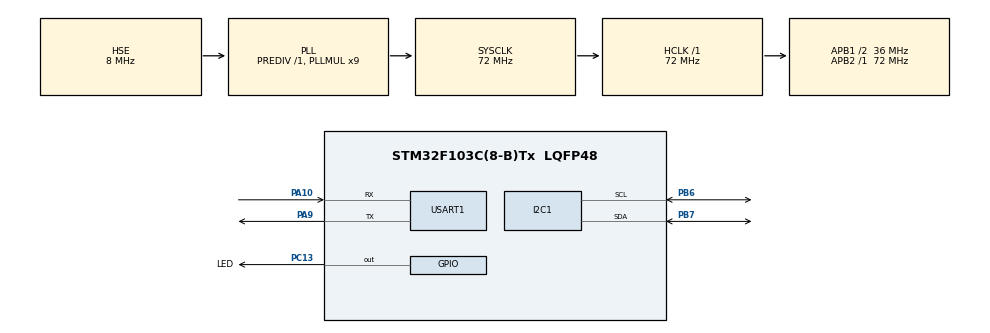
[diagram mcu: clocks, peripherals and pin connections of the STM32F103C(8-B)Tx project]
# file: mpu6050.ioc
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I2C1.I2C_Mode=I2C_Fast
Mcu.Family=STM32F1
Mcu.Name=STM32F103C(8-B)Tx
Mcu.Package=LQFP48
NVIC.I2C1_ER_IRQn=true\:0\:0\:false\:false\:true\:true\:true\:true
NVIC.I2C1_EV_IRQn=true\:0\:0\:false\:false\:true\:true\:true\:true
NVIC.PriorityGroup=NVIC_PRIORITYGROUP_4
PA10.Mode=Asynchronous
PA10.Signal=USART1_RX
PA13.Mode=Serial_Wire
PA13.Signal=SYS_JTMS-SWDIO
PA14.Mode=Serial_Wire
PA14.Signal=SYS_JTCK-SWCLK
PA9.Mode=Asynchronous
PA9.Signal=USART1_TX
PB6.Mode=I2C
PB6.Signal=I2C1_SCL
PB7.Mode=I2C
PB7.Signal=I2C1_SDA
PC13-TAMPER-RTC.GPIO_Label=LED
PC13-TAMPER-RTC.GPIO_PuPd=GPIO_PULLDOWN
PC13-TAMPER-RTC.Signal=GPIO_Output
PD0-OSC_IN.Mode=HSE-External-Oscillator
PD0-OSC_IN.Signal=RCC_OSC_IN
PD1-OSC_OUT.Mode=HSE-External-Oscillator
PD1-OSC_OUT.Signal=RCC_OSC_OUT
ProjectManager.HeapSize=0x200
ProjectManager.StackSize=0x400
ProjectManager.TargetToolchain=CMake
RCC.AHBFreq_Value=72000000
RCC.APB1CLKDivider=RCC_HCLK_DIV2
RCC.APB1Freq_Value=36000000
RCC.APB1TimFreq_Value=72000000
RCC.APB2Freq_Value=72000000
RCC.APB2TimFreq_Value=72000000
RCC.HCLKFreq_Value=72000000
RCC.PLLMUL=RCC_PLL_MUL9
RCC.PLLSourceVirtual=RCC_PLLSOURCE_HSE
RCC.SYSCLKFreq_VALUE=72000000
RCC.SYSCLKSource=RCC_SYSCLKSOURCE_PLLCLK
RCC.USBFreq_Value=48000000
RCC.USBPrescaler=RCC_USBCLKSOURCE_PLL_DIV1_5
USART1.VirtualMode=VM_ASYNC
board=custom

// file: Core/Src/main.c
/* USER CODE BEGIN Header */
/**
  ******************************************************************************
  * @file           : main.c
  * @brief          : Main program body
  ******************************************************************************
  * @attention
  *
  * Copyright (c) 2026 STMicroelectronics.
  * All rights reserved.
  *
  * This software is licensed under terms that can be found in the LICENSE file
  * in the root directory of this software component.
  * If no LICENSE file comes with this software, it is provided AS-IS.
  *
  ******************************************************************************
  */
/* USER CODE END Header */
#include "main.h"

/* USER CODE BEGIN Includes */
#include <stdio.h>
#include "mpu6050.h"
#include "kalman.h"
#include "complementary.h"
#include "mavlink_attitude.h"
/* USER CODE END Includes */

/* USER CODE BEGIN PTD */
typedef struct
{
  float comple;
  float kalman;
} UART_MPU;

/* USER CODE END PTD */

I2C_HandleTypeDef hi2c1;

UART_HandleTypeDef huart1;

/* USER CODE BEGIN PV */
MPU6050_t mpu;
UART_MPU uart;
/* USER CODE END PV */

void SystemClock_Config(void);
static void MX_GPIO_Init(void);
static void MX_I2C1_Init(void);
static void MX_USART1_UART_Init(void);

/* USER CODE BEGIN 0 */
static void format_float(char *buf, size_t size, float val)
{
  if (val < 0.0f)
  {
    val = -val;
    int32_t int_part = (int32_t)val;
    uint32_t frac_part = (uint32_t)((val - (float)int_part) * 100.0f + 0.5f);
    if (frac_part >= 100)
    {
      int_part++;
      frac_part -= 100;
    }
    snprintf(buf, size, "-%ld.%02lu", (long)int_part, (long)frac_part);
  }
  else
  {
    int32_t int_part = (int32_t)val;
    uint32_t frac_part = (uint32_t)((val - (float)int_part) * 100.0f + 0.5f);
    if (frac_part >= 100)
    {
      int_part++;
      frac_part -= 100;
    }
    snprintf(buf, size, "%ld.%02lu", (long)int_part, (long)frac_part);
  }
}
/* USER CODE END 0 */

int main(void)
{

  /* MCU Configuration--------------------------------------------------------*/

  /* Reset of all peripherals, Initializes the Flash interface and the Systick. */
  HAL_Init();

  /* Configure the system clock */
  SystemClock_Config();

  /* Initialize all configured peripherals */
  MX_GPIO_Init();
  MX_I2C1_Init();
  MX_USART1_UART_Init();
  /* USER CODE BEGIN 2 */
  /* Inisialisasi sensor MPU6050 */
  while (MPU6050_Init(&mpu, &hi2c1) != HAL_OK)
  {
    /* Sensor gagal diinisialisasi / belum terhubung: kedipkan LED cepat */
    HAL_GPIO_TogglePin(LED_GPIO_Port, LED_Pin);
    HAL_Delay(100);
  }

  /* Kalibrasi startup gyroscope (500 sampel statis ~1 detik) */
  while (MPU6050_Calibrate_Gyro(&mpu) != HAL_OK)
  {
    HAL_GPIO_WritePin(LED_GPIO_Port, LED_Pin, GPIO_PIN_RESET);
  }
  HAL_GPIO_WritePin(LED_GPIO_Port, LED_Pin, GPIO_PIN_SET);
  /* USER CODE END 2 */

  /* Infinite loop */
  /* USER CODE BEGIN WHILE */
  while (1)
  {
    /* Membaca seluruh data IMU (akselerometer, suhu, gyroscope) */
    if (MPU6050_ReadAll(&mpu) == HAL_OK)
    {
      MPU6050_Update_Kalman(&mpu);
      // MPU6050_Update_Angle(&mpu);
      // uart.comple = mpu.roll;
      // uart.kalman = mpu.roll_k;

      // char roll_str[16];
      // char pitch_str[16];
      // char yaw_str[16];
      // char tx_buf[96];

      // format_float(roll_str, sizeof(roll_str), mpu.roll);
      // format_float(pitch_str, sizeof(pitch_str), mpu.pitch);
      // format_float(yaw_str, sizeof(yaw_str), mpu.yaw);
      // int len = snprintf(tx_buf, sizeof(tx_buf), "Roll: %s, Pitch: %s, Yaw: %s\r\n", roll_str, pitch_str, yaw_str);
      // HAL_UART_Transmit(&huart1, (uint8_t*)tx_buf, (uint16_t)len, HAL_MAX_DELAY);

      // /* Comment this call to send only plain-text data without MAVLink format */
      MAVLink_Attitude_Send(&huart1, &(MAVLink_Attitude_t){
          .time_boot_ms = HAL_GetTick(),
          .roll         = mpu.roll_k * MAVLINK_DEG_TO_RAD,
          .pitch        = mpu.pitch_k * MAVLINK_DEG_TO_RAD,
          .yaw          = mpu.yaw_k * MAVLINK_DEG_TO_RAD,
          .rollspeed    = (mpu.gyro_x - mpu.gyro_offset_x) * MAVLINK_DEG_TO_RAD,
          .pitchspeed   = (mpu.gyro_y - mpu.gyro_offset_y) * MAVLINK_DEG_TO_RAD,
          .yawspeed     = (mpu.gyro_z - mpu.gyro_offset_z) * MAVLINK_DEG_TO_RAD
      });
    }

    HAL_Delay(50); /* Delay sampling 50 ms (20 Hz) */
    /* USER CODE END WHILE */

  }
}

void SystemClock_Config(void)
{
  RCC_OscInitTypeDef RCC_OscInitStruct = {0};
  RCC_ClkInitTypeDef RCC_ClkInitStruct = {0};

  /** Initializes the RCC Oscillators according to the specified parameters
  * in the RCC_OscInitTypeDef structure.
  */
  RCC_OscInitStruct.OscillatorType = RCC_OSCILLATORTYPE_HSE;
  RCC_OscInitStruct.HSEState = RCC_HSE_ON;
  RCC_OscInitStruct.HSEPredivValue = RCC_HSE_PREDIV_DIV1;
  RCC_OscInitStruct.HSIState = RCC_HSI_ON;
  RCC_OscInitStruct.PLL.PLLState = RCC_PLL_ON;
  RCC_OscInitStruct.PLL.PLLSource = RCC_PLLSOURCE_HSE;
  RCC_OscInitStruct.PLL.PLLMUL = RCC_PLL_MUL9;
  if (HAL_RCC_OscConfig(&RCC_OscInitStruct) != HAL_OK)
  {
    Error_Handler();
  }

  /** Initializes the CPU, AHB and APB buses clocks
  */
  RCC_ClkInitStruct.ClockType = RCC_CLOCKTYPE_HCLK|RCC_CLOCKTYPE_SYSCLK
                              |RCC_CLOCKTYPE_PCLK1|RCC_CLOCKTYPE_PCLK2;
  RCC_ClkInitStruct.SYSCLKSource = RCC_SYSCLKSOURCE_PLLCLK;
  RCC_ClkInitStruct.AHBCLKDivider = RCC_SYSCLK_DIV1;
  RCC_ClkInitStruct.APB1CLKDivider = RCC_HCLK_DIV2;
  RCC_ClkInitStruct.APB2CLKDivider = RCC_HCLK_DIV1;

  if (HAL_RCC_ClockConfig(&RCC_ClkInitStruct, FLASH_LATENCY_2) != HAL_OK)
  {
    Error_Handler();
  }
}

static void MX_I2C1_Init(void)
{

  hi2c1.Instance = I2C1;
  hi2c1.Init.ClockSpeed = 400000;
  hi2c1.Init.DutyCycle = I2C_DUTYCYCLE_2;
  hi2c1.Init.OwnAddress1 = 0;
  hi2c1.Init.AddressingMode = I2C_ADDRESSINGMODE_7BIT;
  hi2c1.Init.DualAddressMode = I2C_DUALADDRESS_DISABLE;
  hi2c1.Init.OwnAddress2 = 0;
  hi2c1.Init.GeneralCallMode = I2C_GENERALCALL_DISABLE;
  hi2c1.Init.NoStretchMode = I2C_NOSTRETCH_DISABLE;
  if (HAL_I2C_Init(&hi2c1) != HAL_OK)
  {
    Error_Handler();
  }

}

static void MX_USART1_UART_Init(void)
{

  huart1.Instance = USART1;
  huart1.Init.BaudRate = 115200;
  huart1.Init.WordLength = UART_WORDLENGTH_8B;
  huart1.Init.StopBits = UART_STOPBITS_1;
  huart1.Init.Parity = UART_PARITY_NONE;
  huart1.Init.Mode = UART_MODE_TX_RX;
  huart1.Init.HwFlowCtl = UART_HWCONTROL_NONE;
  huart1.Init.OverSampling = UART_OVERSAMPLING_16;
  if (HAL_UART_Init(&huart1) != HAL_OK)
  {
    Error_Handler();
  }

}

static void MX_GPIO_Init(void)
{
  GPIO_InitTypeDef GPIO_InitStruct = {0};

  /* GPIO Ports Clock Enable */
  __HAL_RCC_GPIOC_CLK_ENABLE();
  __HAL_RCC_GPIOD_CLK_ENABLE();
  __HAL_RCC_GPIOA_CLK_ENABLE();
  __HAL_RCC_GPIOB_CLK_ENABLE();

  /*Configure GPIO pin Output Level */
  HAL_GPIO_WritePin(LED_GPIO_Port, LED_Pin, GPIO_PIN_RESET);

  /*Configure GPIO pin : LED_Pin */
  GPIO_InitStruct.Pin = LED_Pin;
  GPIO_InitStruct.Mode = GPIO_MODE_OUTPUT_PP;
  GPIO_InitStruct.Pull = GPIO_PULLDOWN;
  GPIO_InitStruct.Speed = GPIO_SPEED_FREQ_LOW;
  HAL_GPIO_Init(LED_GPIO_Port, &GPIO_InitStruct);

}

void Error_Handler(void)
{
  __disable_irq();
  while (1)
  {
  }
}
